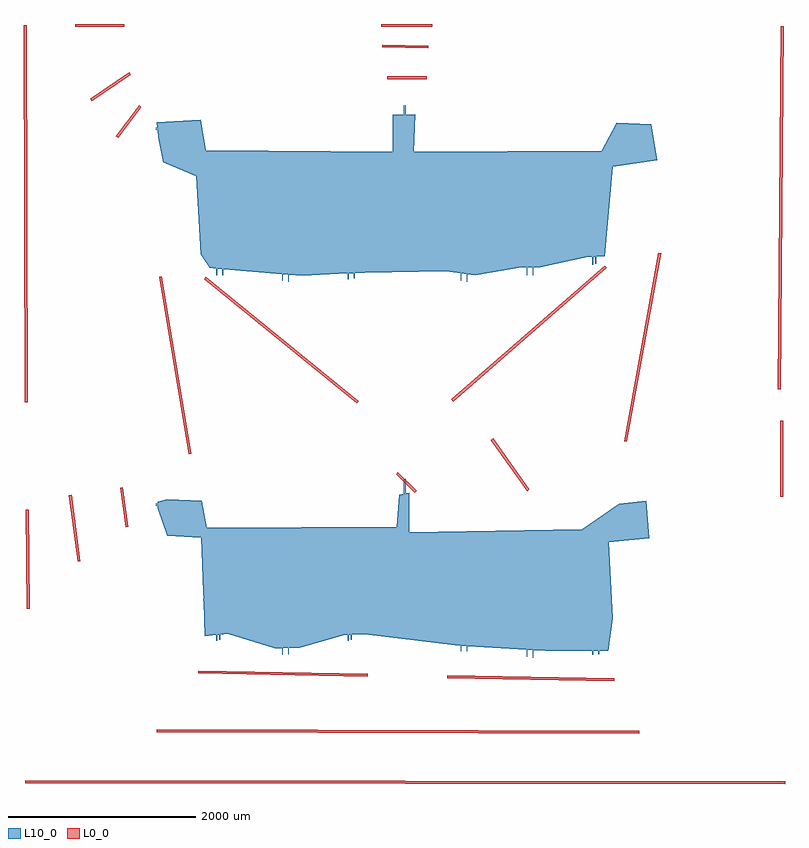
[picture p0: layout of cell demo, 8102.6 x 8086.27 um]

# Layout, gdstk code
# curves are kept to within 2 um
import gdstk
lib = gdstk.Library(unit=1e-6, precision=1e-09)
def P(c, l, *ps):  # polygons
    for p in ps: c.add(gdstk.Polygon(p, *l))
L0_0 = (0, 0)
L10_0 = (10, 0)

demo = lib.new_cell('demo')
P(demo, L10_0, [(1360,-2302.99),(1360,-2222.741),(1304,-2219.241),(1304,-2290.99),(1302,-2219.116),(1298,-2218.866),(1298,-2290.99),(1296,-2218.741),(668,-2179.492),(666,-2234.009),(666,-2179.367),(662,-2179.117),(660,-2234.009),(660,-2178.992),(604,-2175.492),(602,-2232.009),(602,-2175.367),(598,-2175.117),(596,-2232.009),(596,-2174.992),(538.576,-2171.403),(-423.879,-2051.719),(-564,-2058.186),(-564,-2112),(-566,-2058.278),(-570,-2058.463),(-570,-2112),(-572,-2058.555),(-596,-2059.663),(-596,-2120),(-598,-2059.755),(-602,-2059.94),(-602,-2120),(-604,-2060.032),(-655.41,-2062.405),(-1118.472,-2197.762),(-1232,-2199.296),(-1232,-2266),(-1234,-2199.323),(-1238,-2199.377),(-1238,-2266),(-1240,-2199.404),(-1296,-2200.161),(-1298,-2274),(-1298,-2200.188),(-1302,-2200.242),(-1304,-2274),(-1304,-2200.269),(-1382.061,-2201.324),(-1884.304,-2048.157),(-1964,-2056.361),(-1964,-2112),(-1966,-2056.567),(-1970,-2056.979),(-1970,-2112),(-1972,-2057.184),(-1996,-2059.655),(-1996,-2120),(-1998,-2059.861),(-2002,-2060.273),(-2002,-2120),(-2004,-2060.479),(-2126.521,-2073.091),(-2139.542,-1699.933),(-2143.993,-1686.62),(-2140.322,-1677.573),(-2139.686,-1695.821),(-2140.322,-1677.573),(-2142.472,-1677.573),(-2140.466,-1673.465),(-2162.968,-1028.595),(-2524.07,-1004.886),(-2629.848,-711.263),(-2629.165,-686),(-2647.5,-686),(-2647.5,-681),(-2629.03,-681),(-2628.76,-671),(-2647.5,-671),(-2647.5,-666),(-2628.625,-666),(-2628.024,-643.784),(-2528.174,-615.516),(-2162.141,-630.476),(-2107.988,-918.331),(-83.485,-911.374),(-60.554,-566.36),(-10,-558.206),(-10,-398.945),(-5,-398.945),(-5,-557.4),(5,-555.787),(5,-398.945),(10,-398.945),(10,-554.98),(49.868,-548.55),(49.868,-968.867),(1891.429,-936.809),(2283.25,-662.534),(2568.211,-630.476),(2603.831,-1032.984),(2169.265,-1072.166),(2212.01,-1880.742),(2163.644,-2226.258),(2068,-2226.972),(2068,-2266),(2066,-2226.987),(2062,-2227.017),(2062,-2266),(2060,-2227.032),(2004,-2227.45),(2004,-2274),(2002,-2227.465),(1998,-2227.495),(1996,-2274),(1996,-2227.51),(1496.045,-2231.244),(1368,-2223.241),(1366,-2302.99),(1366,-2223.116),(1362,-2222.866)],
  [(-1240,1697.01),(-1240,1772.709),(-1296,1777.475),(-1298,1709.01),(-1298,1777.645),(-1302,1777.985),(-1304,1709.01),(-1304,1778.156),(-1932,1831.603),(-1934,1765.991),(-1934,1831.773),(-1938,1832.113),(-1940,1765.991),(-1940,1832.284),(-1996,1837.05),(-1998,1767.991),(-1998,1837.22),(-2002,1837.56),(-2004,1767.991),(-2004,1837.73),(-2073.202,1843.62),(-2170.601,1989.718),(-2219.301,2817.607),(-2567.153,2970.663),(-2622.81,3235.031),(-2629.677,3314),(-2647.5,3314),(-2647.5,3319),(-2630.112,3319),(-2630.981,3329),(-2647.5,3329),(-2647.5,3334),(-2631.416,3334),(-2636.724,3395.043),(-2170.601,3422.871),(-2114.945,3095.89),(-125.227,3081.975),(-125.227,3471.571),(-10,3474.96),(-10,3576.361),(-5,3576.361),(-5,3475.107),(5,3475.401),(5,3576.361),(10,3576.361),(10,3475.548),(111.313,3478.528),(97.399,3081.975),(2094.074,3088.933),(2254.086,3388.086),(2622.81,3374.172),(2685.423,2991.534),(2212.344,2921.963),(2128.859,1968.847),(2036,1965.133),(2036,1888),(2034,1965.053),(2030,1964.893),(2030,1888),(2028,1964.813),(2004,1963.853),(2004,1880),(2002,1963.773),(1998,1963.613),(1998,1880),(1996,1963.533),(1954.933,1961.89),(1440.11,1850.577),(1368,1850.577),(1368,1765.991),(1366,1850.577),(1362,1850.577),(1362,1765.991),(1360,1850.577),(1304,1850.577),(1304,1767.991),(1302,1850.577),(1298,1850.577),(1298,1767.991),(1296,1850.577),(1245.313,1850.577),(751.362,1767.092),(668,1778.207),(668,1697.01),(666,1778.473),(662,1779.007),(660,1697.01),(660,1779.273),(604,1786.74),(602,1709.01),(602,1787.007),(598,1787.54),(596,1709.01),(596,1787.807),(438.294,1808.834),(-424.38,1794.92),(-532,1789.315),(-532,1734),(-534,1789.211),(-538,1789.002),(-538,1734),(-540,1788.898),(-596,1785.982),(-596,1726),(-598,1785.877),(-602,1785.669),(-602,1726),(-604,1785.565),(-1092.258,1760.135),(-1232,1772.028),(-1232,1697.01),(-1234,1772.198),(-1238,1772.539)])
demo.add(gdstk.FlexPath([(-2285.393,-135.663),(-2598.46,1753.178)], 30, ends="flush", simple_path=True, layer=0, datatype=0))  # L0_0
demo.add(gdstk.FlexPath([(2348.006,0),(2713.252,2003.632)], 30, ends="flush", simple_path=True, layer=0, datatype=0))  # L0_0
demo.add(gdstk.FlexPath([(-3559.642,-573.622),(-3465.851,-1277.058)], 30, ends="flush", simple_path=True, layer=0, datatype=0))  # L0_0
demo.add(gdstk.FlexPath([(-4017.468,-727.27),(-4005.744,-1782.424)], 30, ends="flush", simple_path=True, layer=0, datatype=0))  # L0_0
demo.add(gdstk.FlexPath([(-3013.23,-490.627),(-2954.61,-912.688)], 30, ends="flush", simple_path=True, layer=0, datatype=0))  # L0_0
demo.add(gdstk.FlexPath([(-2638.115,-3078.914),(2496.191,-3097.281)], 30, ends="flush", simple_path=True, layer=0, datatype=0))  # L0_0
demo.add(gdstk.FlexPath([(-2195.647,-2454.449),(-392.378,-2487.843)], 30, ends="flush", simple_path=True, layer=0, datatype=0))  # L0_0
demo.add(gdstk.FlexPath([(450.817,-2504.54),(2229.04,-2537.934)], 30, ends="flush", simple_path=True, layer=0, datatype=0))  # L0_0
demo.add(gdstk.FlexPath([(-2123.85,1736.481),(-500.908,414.084)], 30, ends="flush", simple_path=True, layer=0, datatype=0))  # L0_0
demo.add(gdstk.FlexPath([(2137.207,1856.699),(507.587,434.12)], 30, ends="flush", simple_path=True, layer=0, datatype=0))  # L0_0
demo.add(gdstk.FlexPath([(-4028.135,417.423),(-4038.571,4424.687)], 30, ends="flush", simple_path=True, layer=0, datatype=0))  # L0_0
demo.add(gdstk.FlexPath([(3986.393,553.086),(4017.699,4414.252)], 30, ends="flush", simple_path=True, layer=0, datatype=0))  # L0_0
demo.add(gdstk.FlexPath([(-3059.945,3235.804),(-2813.742,3564.074)], 30, ends="flush", simple_path=True, layer=0, datatype=0))  # L0_0
demo.add(gdstk.FlexPath([(-3339.387,3631.583),(-2921.963,3913.344)], 30, ends="flush", simple_path=True, layer=0, datatype=0))  # L0_0
demo.add(gdstk.FlexPath([(-3506.356,4424.687),(-2984.577,4424.687)], 30, ends="flush", simple_path=True, layer=0, datatype=0))  # L0_0
demo.add(gdstk.FlexPath([(-187.583,3868.896),(234.479,3868.896)], 30, ends="flush", simple_path=True, layer=0, datatype=0))  # L0_0
demo.add(gdstk.FlexPath([(-240.018,4205.54),(250.454,4195.104)], 30, ends="flush", simple_path=True, layer=0, datatype=0))  # L0_0
demo.add(gdstk.FlexPath([(-250.454,4424.687),(292.196,4424.687)], 30, ends="flush", simple_path=True, layer=0, datatype=0))  # L0_0
demo.add(gdstk.FlexPath([(-4038.571,-3621.147),(4049.006,-3631.583)], 30, ends="flush", simple_path=True, layer=0, datatype=0))  # L0_0
demo.add(gdstk.FlexPath([(-82.067,-339.994),(117.239,-539.301)], 30, ends="flush", simple_path=True, layer=0, datatype=0))  # L0_0
demo.add(gdstk.FlexPath([(928.767,20.871),(1314.883,-521.779)], 30, ends="flush", simple_path=True, layer=0, datatype=0))  # L0_0
demo.add(gdstk.FlexPath([(4012.804,218.761),(4012.804,-590.19)], 30, ends="flush", simple_path=True, layer=0, datatype=0))  # L0_0

lib.write_gds('demo.gds')
